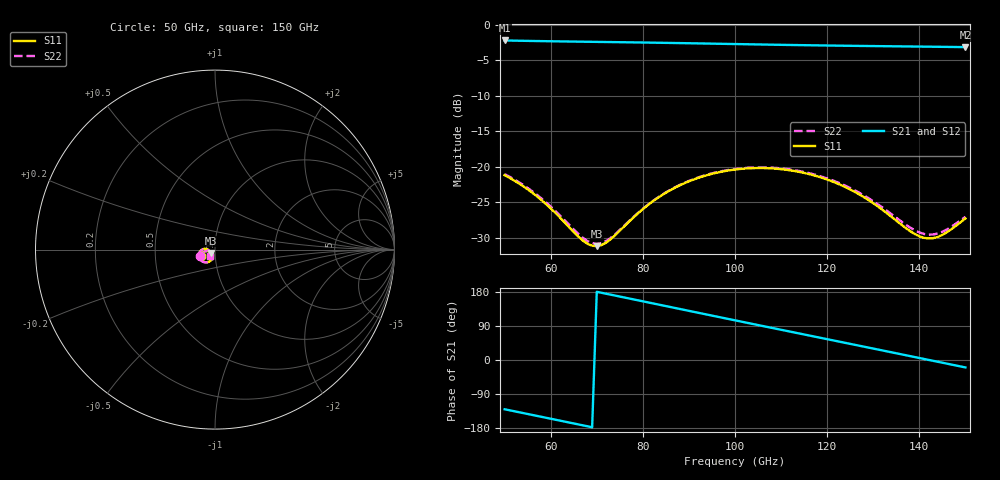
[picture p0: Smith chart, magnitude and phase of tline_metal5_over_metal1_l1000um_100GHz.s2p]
#  GHZ S DB R 50
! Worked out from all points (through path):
!   101 points, 50 GHz to 150 GHz, reference 50 ohm
!   highest |S21| = -2.18 dB at 50 GHz (marker M1); lowest = -3.1 dB at 150 GHz (marker M2)
!   group delay of S21, straight-line fit = 6.93 ps
!   lowest |S11| = -31.2 dB at 70 GHz (marker M3), VSWR 1.06, Z = 48 - j1.8 ohm
!   |S11| at or under -10 dB: start of sweep to end of sweep
!   |S22| runs from -30.8 to -20.1 dB; largest |S21 - S12| = 8.9e-14
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50  -21.16 -156.9  -2.18 -130.0  -2.18 -130.0  -21.01 -156.4
55  -23.15 -165.8  -2.24 -142.5  -2.24 -142.5  -22.97 -165.2
59  -25.24 -169.8  -2.28 -152.5  -2.28 -152.5  -25.00 -169.2
63  -27.80 -168.2  -2.32 -162.5  -2.32 -162.5  -27.49 -167.7
67  -30.39 -155.4  -2.35 -172.5  -2.35 -172.5  -30.01 -155.7
70  -31.16 -137.4  -2.38 180.0  -2.38 180.0  -30.84 -138.6
73  -30.19 -120.3  -2.41 172.5  -2.41 172.5  -30.01 -121.8
77  -27.71 -109.3  -2.44 162.4  -2.44 162.4  -27.64 -110.2
84  -24.03 -110.4  -2.51 144.8  -2.51 144.8  -23.99 -110.6
92  -21.54 -122.5  -2.59 124.7  -2.59 124.7  -21.49 -122.2
96  -20.82 -129.9  -2.64 114.7  -2.64 114.7  -20.75 -129.4
100  -20.37 -137.7  -2.68 104.7  -2.68 104.7  -20.29 -137.0
104  -20.17 -145.6  -2.73 94.7  -2.73 94.7  -20.08 -144.7
108  -20.21 -153.4  -2.77 84.8  -2.77 84.8  -20.10 -152.3
112  -20.48 -160.9  -2.81 74.8  -2.81 74.8  -20.36 -159.8
117  -21.17 -169.9  -2.86 62.4  -2.86 62.4  -21.02 -168.5
126  -23.52 177.7  -2.94 40.1  -2.94 40.1  -23.30 179.4
134  -27.05 176.9  -3.00 20.2  -3.00 20.2  -26.67 178.8
139  -29.45 -170.5  -3.03 7.8  -3.03 7.8  -28.92 -169.4
142  -30.08 -156.7  -3.06 0.3  -3.06 0.3  -29.54 -156.7
145  -29.57 -142.7  -3.08 -7.1  -3.08 -7.1  -29.13 -143.5
150  -27.26 -129.2  -3.12 -19.6  -3.12 -19.6  -27.03 -130.1
